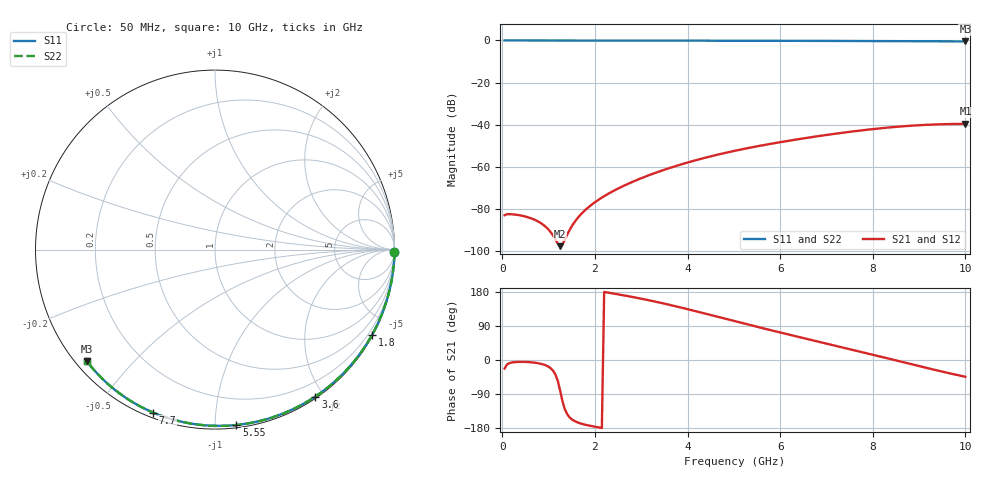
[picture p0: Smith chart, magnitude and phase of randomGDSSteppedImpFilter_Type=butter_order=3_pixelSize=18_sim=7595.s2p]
! freq	dB(S11)	phase(S11)	dB(S12)	phase(S12)
!  dB(S21)	phase(S21)	dB(S22)	phase(S22)
!S-par simulation data
#  GHz  S  DB  R 50
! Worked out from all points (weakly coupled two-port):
!   200 points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, 50 MHz to 10 GHz, reference 50 ohm
!   highest |S21| = -39.52 dB at 10 GHz (marker M1); lowest = -97.5 dB at 1.25 GHz (marker M2)
!   lowest |S11| = -0.5 dB at 10 GHz (marker M3), VSWR 36.64, Z = 1.56 - j18.8 ohm
!   |S11| at or under -10 dB: nowhere
!   |S22| runs from -0.5 to 0.0 dB; largest |S21 - S12| = 0
!   S11 on the Smith chart (normalised r, x): 50 MHz: open; 1.8 GHz: 0.03, -3.94; 3.6 GHz: 0.02, -1.89; 5.55 GHz: 0.02, -1.13; 7.7 GHz: 0.02, -0.69; 10 GHz: 0.03, -0.38
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0.05  -0.00 -0.8  -82.84 -22.6  -82.84 -22.6  -0.00 -0.8
0.65  -0.01 -10.4  -84.55 -6.4  -84.55 -6.4  -0.01 -10.4
1.25  -0.02 -19.9  -97.52 -81.1  -97.52 -81.1  -0.02 -19.9
1.75  -0.04 -27.7  -81.26 -169.5  -81.26 -169.5  -0.04 -27.7
1.8  -0.04 -28.5  -80.23 -171.1  -80.23 -171.1  -0.04 -28.5
2.1  -0.04 -33.1  -75.20 -178.3  -75.20 -178.3  -0.04 -33.1
2.25  -0.05 -35.4  -73.16 178.5  -73.16 178.5  -0.05 -35.4
2.45  -0.05 -38.5  -70.75 174.3  -70.75 174.3  -0.05 -38.5
2.85  -0.06 -44.5  -66.66 165.4  -66.66 165.4  -0.06 -44.5
3.1  -0.06 -48.3  -64.44 159.3  -64.44 159.3  -0.06 -48.3
3.4  -0.07 -52.7  -62.03 151.5  -62.03 151.5  -0.07 -52.7
3.6  -0.08 -55.6  -60.56 145.9  -60.56 145.9  -0.08 -55.6
3.9  -0.08 -60.0  -58.51 137.2  -58.51 137.2  -0.08 -60.0
4.3  -0.09 -65.7  -56.06 125.0  -56.06 125.0  -0.09 -65.7
5.05  -0.12 -76.2  -52.17 101.6  -52.17 101.6  -0.12 -76.2
5.55  -0.14 -83.0  -49.98 86.2  -49.98 86.2  -0.14 -83.0
6.1  -0.16 -90.3  -47.85 69.7  -47.85 69.7  -0.16 -90.3
6.7  -0.19 -98.2  -45.76 52.1  -45.76 52.1  -0.19 -98.2
7.7  -0.25 -110.8  -42.77 23.0  -42.77 23.0  -0.25 -110.8
8.35  -0.31 -118.9  -41.25 3.5  -41.25 3.5  -0.31 -118.9
9.15  -0.38 -128.6  -40.00 -20.5  -40.00 -20.5  -0.38 -128.6
10  -0.47 -138.8  -39.52 -44.3  -39.52 -44.3  -0.47 -138.8
